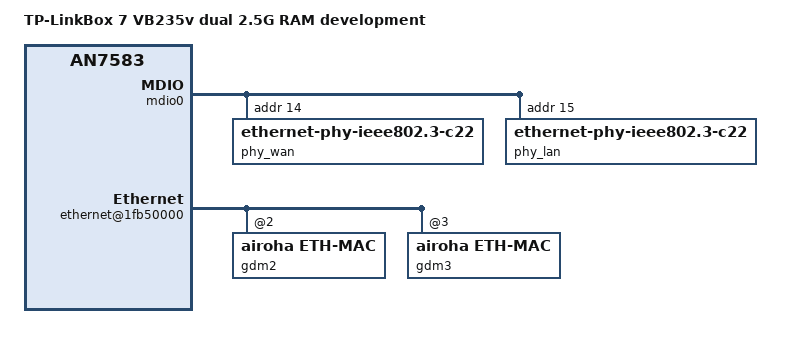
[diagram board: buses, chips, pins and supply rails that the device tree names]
// SPDX-License-Identifier: GPL-2.0-only
/include/ "an7583-tplink_vb235v-ram-accel.dts"
/ {
	model = "TP-LinkBox 7 VB235v dual 2.5G RAM development";
	compatible = "tplink,vb235v-ram-multigig-development", "tplink,vb235v-ram-accel-development", "tplink,vb235v-ram-npu-development", "tplink,vb235v-ram-smp-development", "tplink,vb235v-ram-dual-pcie-development", "tplink,vb235v-ram-pcie-development", "airoha,an7583";
	pcs_wan: pcs@1fa08000 {
		compatible = "airoha,an7583-pcs-pon";
		reg = <0 0x1fa08000 0 0x1000>, <0 0x1fa80000 0 0x60>,
			<0 0x1fa80a00 0 0x164>, <0 0x1fa84000 0 0x450>,
			<0 0x1fa85900 0 0x338>, <0 0x1fa86000 0 0x300>,
			<0 0x1fa8f000 0 0x1000>, <0 0x1fa8e000 0 0x1000>;
		reg-names = "pcs_mac", "hsgmii_an", "hsgmii_pcs", "multi_sgmii", "usxgmii", "hsgmii_rate_adp", "pcs_ana", "pcs_pma";
		resets = <&scuclk 48>, <&scuclk 0>, <&scuclk 15>;
		reset-names = "mac", "phy", "xfi";
		airoha,scu = <&scuclk>;
		airoha,pon-ethernet-mode = "2500base-x";
		nvmem-cells = <&pon_valid>, <&pon_tx_term>, <&pon_rx_imp>;
		nvmem-cell-names = "pon-impedance-valid", "pon-tx-term", "pon-rx-impedance";
		#pcs-cells = <0>;
	};
	pcs_lan: pcs@1fa09000 {
		compatible = "airoha,an7583-pcs-eth";
		reg = <0 0x1fa09000 0 0x1000>, <0 0x1fa70000 0 0x60>,
			<0 0x1fa70a00 0 0x164>, <0 0x1fa74000 0 0x450>,
			<0 0x1fa75900 0 0x338>, <0 0x1fa76000 0 0x300>,
			<0 0x1fa7f000 0 0x1000>, <0 0x1fa7e000 0 0x1000>;
		reg-names = "pcs_mac", "hsgmii_an", "hsgmii_pcs", "multi_sgmii", "usxgmii", "hsgmii_rate_adp", "pcs_ana", "pcs_pma";
		resets = <&scuclk 7>, <&scuclk 8>;
		reset-names = "mac", "phy";
		airoha,scu = <&scuclk>;
		#pcs-cells = <0>;
	};
};
&{/efuse/nvmem-layout} {
	pon_valid: pon-impedance-valid@4 { reg = <4 1>; bits = <5 1>; };
	pon_tx_term: pon-tx-term@f { reg = <15 1>; bits = <5 2>; };
	pon_rx_imp: pon-rx-impedance@f { reg = <15 2>; bits = <7 2>; };
};
&mdio0 {
	phy_wan: ethernet-phy@e { compatible = "ethernet-phy-ieee802.3-c22"; reg = <14>; max-speed = <2500>; };
	phy_lan: ethernet-phy@f { compatible = "ethernet-phy-ieee802.3-c22"; reg = <15>; max-speed = <2500>; };
};
&{/ethernet@1fb50000} {
	gdm2: ethernet@2 {
		compatible = "airoha,eth-mac";
		reg = <2>;
		phy-mode = "2500base-x";
		pcs-handle = <&pcs_wan>;
		phy-handle = <&phy_wan>;
	};
	gdm3: ethernet@3 {
		compatible = "airoha,eth-mac";
		reg = <3>;
		phy-mode = "2500base-x";
		pcs-handle = <&pcs_lan>;
		phy-handle = <&phy_lan>;
		airoha,gdm-srcport = <0x16>;
	};
};
